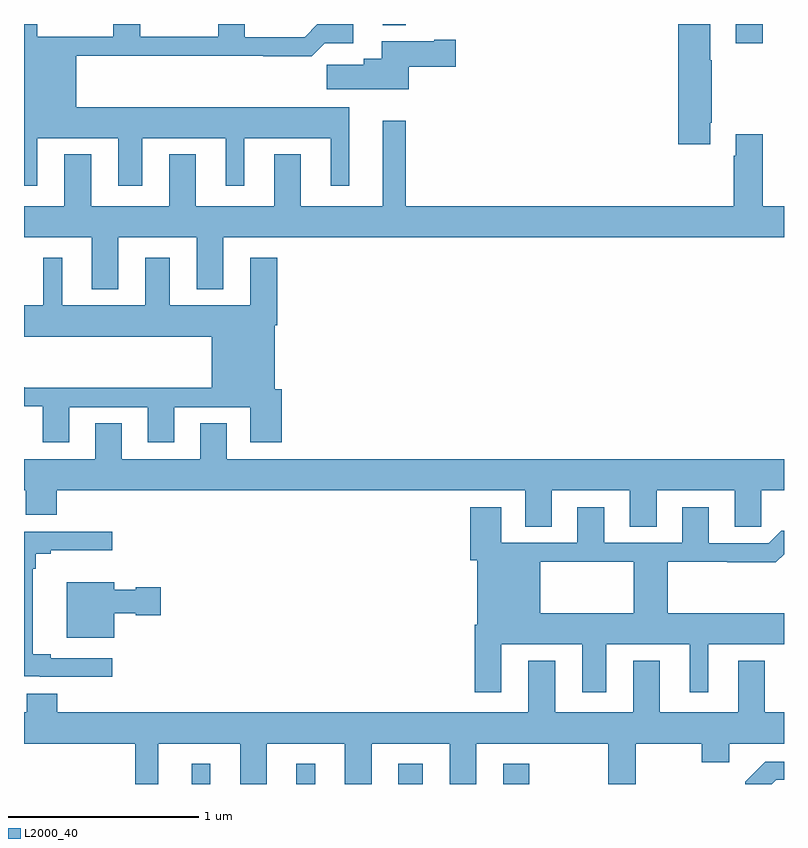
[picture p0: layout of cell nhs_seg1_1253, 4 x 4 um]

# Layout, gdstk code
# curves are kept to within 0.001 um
import gdstk
lib = gdstk.Library(unit=1e-6, precision=1e-09)
def R(c, l, rs):  # rectangles x0, y0, x1, y1
    for r in rs: c.add(gdstk.rectangle(r[:2], r[2:], *l))
def P(c, l, *ps):  # polygons
    for p in ps: c.add(gdstk.Polygon(p, *l))
L2000_40 = (2000, 40)

nhs_seg1_1253 = lib.new_cell('nhs_seg1_1253')
R(nhs_seg1_1253, L2000_40, [(179.882,538.199,179.98,538.306), (180.434,538.199,180.532,538.306), (180.971,538.199,181.099,538.306), (181.523,538.199,181.659,538.306), (182.747,542.097,182.887,542.199), (180.887,542.192,181.009,542.199)])
P(nhs_seg1_1253, L2000_40, [(182.611,541.678),(182.619,541.678),(182.619,542.009),(182.611,542.009),(182.611,542.199),(182.444,542.199),(182.444,541.566),(182.611,541.566)],
  [(179.071,541.598),(179.495,541.598),(179.495,541.347),(179.623,541.347),(179.623,541.598),(180.062,541.598),(180.062,541.347),(180.16,541.347),(180.16,541.598),(180.614,541.598),(180.614,541.347),(180.712,541.347),(180.712,541.762),(179.275,541.762),(179.275,542.032),(180.259,542.032),(180.259,542.03),(180.515,542.03),(180.584,542.099),(180.733,542.099),(180.733,542.199),(180.593,542.199),(180.593,542.197),(180.544,542.197),(180.477,542.13),(180.163,542.13),(180.163,542.199),(180.023,542.199),(180.023,542.133),(179.611,542.133),(179.611,542.199),(179.471,542.199),(179.471,542.133),(179.071,542.133),(179.071,542.199),(179,542.199),(179,541.347),(179.071,541.347)],
  [(181.024,541.973),(181.273,541.973),(181.273,542.115),(181.16,542.115),(181.16,542.107),(180.884,542.107),(180.884,542.017),(180.788,542.017),(180.788,541.985),(180.594,541.985),(180.594,541.856),(181.024,541.856)],
  [(179.497,541.076),(179.909,541.076),(179.909,540.803),(180.049,540.803),(180.049,541.076),(183,541.076),(183,541.24),(182.887,541.24),(182.887,541.618),(182.747,541.618),(182.747,541.505),(182.735,541.505),(182.735,541.24),(181.009,541.24),(181.009,541.69),(180.887,541.69),(180.887,541.24),(180.457,541.24),(180.457,541.513),(180.317,541.513),(180.317,541.24),(179.905,541.24),(179.905,541.513),(179.765,541.513),(179.765,541.24),(179.353,541.24),(179.353,541.513),(179.213,541.513),(179.213,541.24),(179,541.24),(179,541.076),(179.357,541.076),(179.357,540.803),(179.497,540.803)],
  [(179.239,540.183),(179.651,540.183),(179.651,539.997),(179.791,539.997),(179.791,540.183),(180.191,540.183),(180.191,539.997),(180.356,539.997),(180.356,540.276),(180.319,540.276),(180.319,540.614),(180.332,540.614),(180.332,540.97),(180.191,540.97),(180.191,540.718),(179.767,540.718),(179.767,540.97),(179.639,540.97),(179.639,540.718),(179.2,540.718),(179.2,540.97),(179.102,540.97),(179.102,540.718),(179,540.718),(179,540.554),(179.987,540.554),(179.987,540.284),(179.003,540.284),(179.003,540.287),(179,540.287),(179,540.186),(179.099,540.186),(179.099,539.997),(179.239,539.997)],
  [(181.777,539.744),(182.189,539.744),(182.189,539.554),(182.329,539.554),(182.329,539.744),(182.741,539.744),(182.741,539.554),(182.88,539.554),(182.88,539.744),(183,539.744),(183,539.908),(180.067,539.908),(180.067,540.098),(179.927,540.098),(179.927,539.908),(179.515,539.908),(179.515,540.098),(179.375,540.098),(179.375,539.908),(179,539.908),(179,539.744),(179.009,539.744),(179.009,539.616),(179.173,539.616),(179.173,539.744),(181.637,539.744),(181.637,539.554),(181.777,539.554)],
  [(181.373,539.038),(181.373,538.683),(181.513,538.683),(181.513,538.934),(181.937,538.934),(181.937,538.683),(182.065,538.683),(182.065,538.934),(182.504,538.934),(182.504,538.683),(182.602,538.683),(182.602,538.934),(183,538.934),(183,539.098),(182.387,539.098),(182.387,539.368),(182.701,539.368),(182.701,539.366),(182.957,539.366),(183,539.409),(183,539.533),(182.986,539.533),(182.919,539.466),(182.605,539.466),(182.605,539.656),(182.465,539.656),(182.465,539.469),(182.053,539.469),(182.053,539.656),(181.913,539.656),(181.913,539.469),(181.513,539.469),(181.513,539.656),(181.349,539.656),(181.349,539.376),(181.385,539.376),(181.385,539.098),(181.717,539.098),(181.717,539.368),(182.209,539.368),(182.209,539.098),(181.385,539.098),(181.385,539.038)],
  [(179.464,538.86),(179.14,538.86),(179.14,538.883),(179.045,538.883),(179.045,539.333),(179.063,539.333),(179.063,539.41),(179.14,539.41),(179.14,539.429),(179.464,539.429),(179.464,539.526),(179,539.526),(179,538.767),(179.083,538.767),(179.083,538.763),(179.464,538.763)],
  [(179.476,539.099),(179.589,539.099),(179.589,539.087),(179.719,539.087),(179.719,539.234),(179.589,539.234),(179.589,539.221),(179.476,539.221),(179.476,539.26),(179.225,539.26),(179.225,538.97),(179.476,538.97)],
  [(181.795,538.849),(181.655,538.849),(181.655,538.576),(179.174,538.576),(179.174,538.674),(179.014,538.674),(179.014,538.576),(179,538.576),(179,538.412),(179.586,538.412),(179.586,538.199),(179.707,538.199),(179.707,538.412),(180.137,538.412),(180.137,538.199),(180.277,538.199),(180.277,538.412),(180.689,538.412),(180.689,538.199),(180.829,538.199),(180.829,538.412),(181.241,538.412),(181.241,538.199),(181.381,538.199),(181.381,538.412),(182.074,538.412),(182.074,538.199),(182.221,538.199),(182.221,538.412),(182.566,538.412),(182.566,538.313),(182.713,538.313),(182.713,538.412),(183,538.412),(183,538.576),(182.899,538.576),(182.899,538.849),(182.759,538.849),(182.759,538.576),(182.347,538.576),(182.347,538.849),(182.207,538.849),(182.207,538.576),(181.795,538.576)],
  [(182.958,538.221),(183,538.221),(183,538.317),(182.901,538.317),(182.796,538.211),(182.796,538.199),(182.936,538.199)])

lib.write_gds('nhs_seg1_1253.gds')
